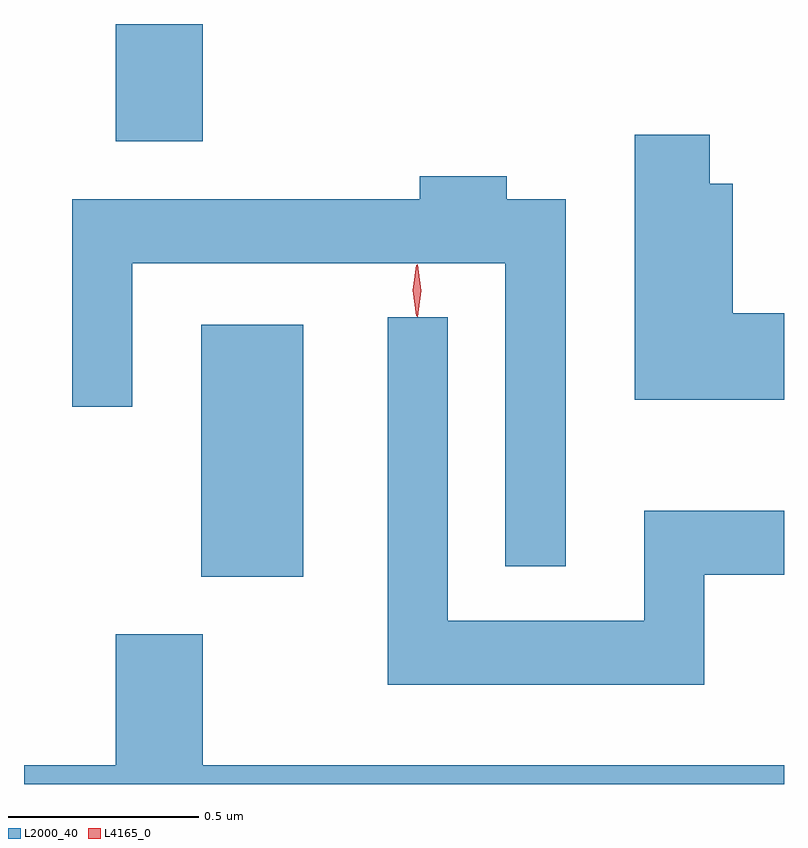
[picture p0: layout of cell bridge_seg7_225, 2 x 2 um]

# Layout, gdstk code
import gdstk
lib = gdstk.Library(unit=1e-6, precision=1e-09)
def R(c, l, rs):  # rectangles x0, y0, x1, y1
    for r in rs: c.add(gdstk.rectangle(r[:2], r[2:], *l))
def P(c, l, *ps):  # polygons
    for p in ps: c.add(gdstk.Polygon(p, *l))
L2000_40 = (2000, 40)
L4165_0 = (4165, 0)

bridge_seg7_225 = lib.new_cell('bridge_seg7_225')
R(bridge_seg7_225, L2000_40, [(1501.016,1706.201,1501.284,1706.864), (1500.791,1707.346,1501.019,1707.655)])
P(bridge_seg7_225, L2000_40, [(1502.549,1706.894),(1502.414,1706.894),(1502.414,1707.234),(1502.354,1707.234),(1502.354,1707.364),(1502.156,1707.364),(1502.156,1706.666),(1502.549,1706.666)],
  [(1501.974,1707.194),(1501.819,1707.194),(1501.819,1707.254),(1501.591,1707.254),(1501.591,1707.194),(1500.676,1707.194),(1500.676,1706.648),(1500.834,1706.648),(1500.834,1707.026),(1501.816,1707.026),(1501.816,1706.228),(1501.974,1706.228)],
  [(1502.339,1706.206),(1502.549,1706.206),(1502.549,1706.374),(1502.181,1706.374),(1502.181,1706.084),(1501.664,1706.084),(1501.664,1706.883),(1501.506,1706.883),(1501.506,1705.916),(1502.339,1705.916)],
  [(1502.549,1705.704),(1501.019,1705.704),(1501.019,1706.049),(1500.791,1706.049),(1500.791,1705.704),(1500.549,1705.704),(1500.549,1705.655),(1502.549,1705.655)])
P(bridge_seg7_225, L4165_0, [(1501.584,1706.884),(1501.584,1706.884),(1501.574,1706.953),(1501.584,1707.022),(1501.584,1707.023),(1501.585,1707.022),(1501.594,1706.953),(1501.585,1706.884)],
  [(1501.581,1706.887),(1501.572,1706.954),(1501.581,1707.02),(1501.582,1707.02),(1501.582,1707.02),(1501.592,1706.954),(1501.582,1706.887),(1501.582,1706.887)])

lib.write_gds('bridge_seg7_225.gds')
